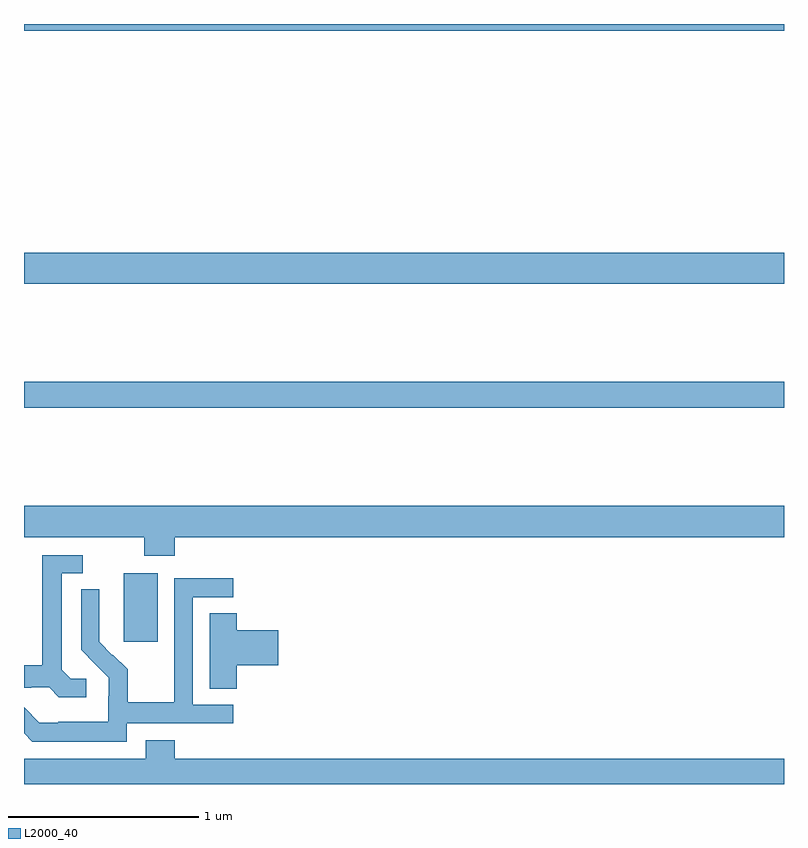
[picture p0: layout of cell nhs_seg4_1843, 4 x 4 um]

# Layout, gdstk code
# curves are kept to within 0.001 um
import gdstk
lib = gdstk.Library(unit=1e-6, precision=1e-09)
def R(c, l, rs):  # rectangles x0, y0, x1, y1
    for r in rs: c.add(gdstk.rectangle(r[:2], r[2:], *l))
def P(c, l, *ps):  # polygons
    for p in ps: c.add(gdstk.Polygon(p, *l))
L2000_40 = (2000, 40)

nhs_seg4_1843 = lib.new_cell('nhs_seg4_1843')
R(nhs_seg4_1843, L2000_40, [(207.524,749.649,207.703,750.01), (207,750.88,211,751.016), (207,751.532,211,751.696), (207,752.864,211,752.9)])
P(nhs_seg4_1843, L2000_40, [(207.794,750.2),(211,750.2),(211,750.364),(207,750.364),(207,750.2),(207.634,750.2),(207.634,750.101),(207.794,750.101)],
  [(207.328,749.454),(207.246,749.454),(207.199,749.501),(207.199,750.009),(207.31,750.009),(207.31,750.105),(207.095,750.105),(207.095,749.525),(207,749.525),(207,749.406),(207.038,749.406),(207.038,749.409),(207.132,749.409),(207.184,749.357),(207.328,749.357)],
  [(207.54,749.22),(208.102,749.22),(208.102,749.316),(207.888,749.316),(207.888,749.883),(208.102,749.883),(208.102,749.982),(207.792,749.982),(207.792,749.552),(207.79,749.552),(207.79,749.329),(207.545,749.329),(207.545,749.503),(207.468,749.58),(207.465,749.577),(207.395,749.648),(207.396,749.924),(207.3,749.924),(207.3,749.606),(207.446,749.458),(207.446,749.361),(207.444,749.361),(207.444,749.227),(207.181,749.227),(207.181,749.223),(207.081,749.223),(207,749.304),(207,749.166),(207.043,749.123),(207.54,749.123)],
  [(208.121,749.525),(208.339,749.525),(208.339,749.708),(208.121,749.708),(208.121,749.798),(207.977,749.798),(207.977,749.401),(208.121,749.401)],
  [(211,749.032),(207.794,749.032),(207.794,749.131),(207.641,749.131),(207.641,749.032),(207,749.032),(207,748.9),(211,748.9)])

lib.write_gds('nhs_seg4_1843.gds')
